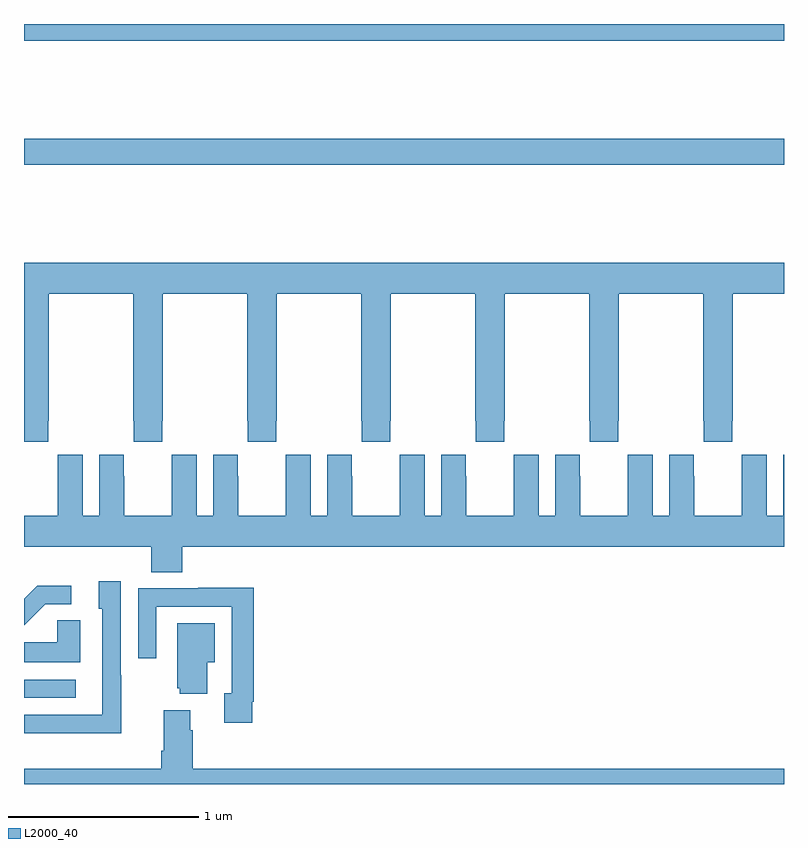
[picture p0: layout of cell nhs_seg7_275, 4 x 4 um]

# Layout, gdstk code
import gdstk
lib = gdstk.Library(unit=1e-6, precision=1e-09)
def R(c, l, rs):  # rectangles x0, y0, x1, y1
    for r in rs: c.add(gdstk.rectangle(r[:2], r[2:], *l))
def P(c, l, *ps):  # polygons
    for p in ps: c.add(gdstk.Polygon(p, *l))
L2000_40 = (2000, 40)

nhs_seg7_275 = lib.new_cell('nhs_seg7_275')
R(nhs_seg7_275, L2000_40, [(131,1034.454,131.272,1034.55), (131,1037.26,135,1037.396), (131,1037.912,135,1038)])
P(nhs_seg7_275, L2000_40, [(131.127,1035.913),(131.13,1035.913),(131.13,1036.58),(131.575,1036.58),(131.575,1035.913),(131.577,1035.913),(131.577,1035.801),(131.727,1035.801),(131.727,1035.913),(131.73,1035.913),(131.73,1036.58),(132.175,1036.58),(132.175,1035.913),(132.177,1035.913),(132.177,1035.801),(132.327,1035.801),(132.327,1035.913),(132.33,1035.913),(132.33,1036.58),(132.775,1036.58),(132.775,1035.913),(132.777,1035.913),(132.777,1035.801),(132.927,1035.801),(132.927,1035.913),(132.93,1035.913),(132.93,1036.58),(133.375,1036.58),(133.375,1035.913),(133.377,1035.913),(133.377,1035.801),(133.527,1035.801),(133.527,1035.913),(133.53,1035.913),(133.53,1036.58),(133.975,1036.58),(133.975,1035.913),(133.977,1035.913),(133.977,1035.801),(134.127,1035.801),(134.127,1035.913),(134.13,1035.913),(134.13,1036.58),(134.575,1036.58),(134.575,1035.913),(134.577,1035.913),(134.577,1035.801),(134.727,1035.801),(134.727,1035.913),(134.73,1035.913),(134.73,1036.58),(135,1036.58),(135,1036.744),(131,1036.744),(131,1035.801),(131.127,1035.801)],
  [(135,1035.733),(134.996,1035.733),(134.996,1035.412),(134.908,1035.412),(134.908,1035.733),(134.778,1035.733),(134.778,1035.62),(134.777,1035.62),(134.777,1035.412),(134.527,1035.412),(134.527,1035.62),(134.526,1035.62),(134.526,1035.733),(134.396,1035.733),(134.396,1035.412),(134.308,1035.412),(134.308,1035.733),(134.178,1035.733),(134.178,1035.62),(134.177,1035.62),(134.177,1035.412),(133.927,1035.412),(133.927,1035.62),(133.926,1035.62),(133.926,1035.733),(133.796,1035.733),(133.796,1035.412),(133.708,1035.412),(133.708,1035.733),(133.578,1035.733),(133.578,1035.62),(133.577,1035.62),(133.577,1035.412),(133.327,1035.412),(133.327,1035.62),(133.326,1035.62),(133.326,1035.733),(133.196,1035.733),(133.196,1035.412),(133.108,1035.412),(133.108,1035.733),(132.978,1035.733),(132.978,1035.62),(132.977,1035.62),(132.977,1035.412),(132.727,1035.412),(132.727,1035.62),(132.726,1035.62),(132.726,1035.733),(132.596,1035.733),(132.596,1035.412),(132.508,1035.412),(132.508,1035.733),(132.378,1035.733),(132.378,1035.62),(132.377,1035.62),(132.377,1035.412),(132.127,1035.412),(132.127,1035.62),(132.126,1035.62),(132.126,1035.733),(131.996,1035.733),(131.996,1035.412),(131.908,1035.412),(131.908,1035.733),(131.778,1035.733),(131.778,1035.62),(131.777,1035.62),(131.777,1035.412),(131.527,1035.412),(131.527,1035.62),(131.526,1035.62),(131.526,1035.733),(131.396,1035.733),(131.396,1035.412),(131.308,1035.412),(131.308,1035.733),(131.178,1035.733),(131.178,1035.62),(131.177,1035.62),(131.177,1035.412),(131,1035.412),(131,1035.248),(131.669,1035.248),(131.669,1035.115),(131.834,1035.115),(131.834,1035.248),(135,1035.248)],
  [(131.511,1034.573),(131.508,1034.573),(131.508,1035.067),(131.393,1035.067),(131.393,1034.922),(131.412,1034.922),(131.412,1034.364),(131,1034.364),(131,1034.268),(131.047,1034.268),(131.047,1034.267),(131.511,1034.267)],
  [(131.113,1034.946),(131.248,1034.946),(131.248,1035.044),(131.069,1035.044),(131,1034.975),(131,1034.835),(131.002,1034.835)],
  [(132.202,1034.434),(132.209,1034.434),(132.209,1035.032),(131.917,1035.032),(131.917,1035.03),(131.601,1035.03),(131.601,1034.661),(131.697,1034.661),(131.697,1034.934),(132.093,1034.934),(132.093,1034.478),(132.053,1034.478),(132.053,1034.322),(132.202,1034.322)],
  [(131.296,1034.861),(131.175,1034.861),(131.175,1034.746),(131,1034.746),(131,1034.642),(131.296,1034.642)],
  [(131.965,1034.642),(132.004,1034.642),(132.004,1034.845),(131.807,1034.845),(131.807,1034.505),(131.819,1034.505),(131.819,1034.474),(131.965,1034.474)],
  [(131,1034),(135,1034),(135,1034.08),(131.888,1034.08),(131.888,1034.282),(131.875,1034.282),(131.875,1034.389),(131.735,1034.389),(131.735,1034.176),(131.723,1034.176),(131.723,1034.08),(131,1034.08)])

lib.write_gds('nhs_seg7_275.gds')
